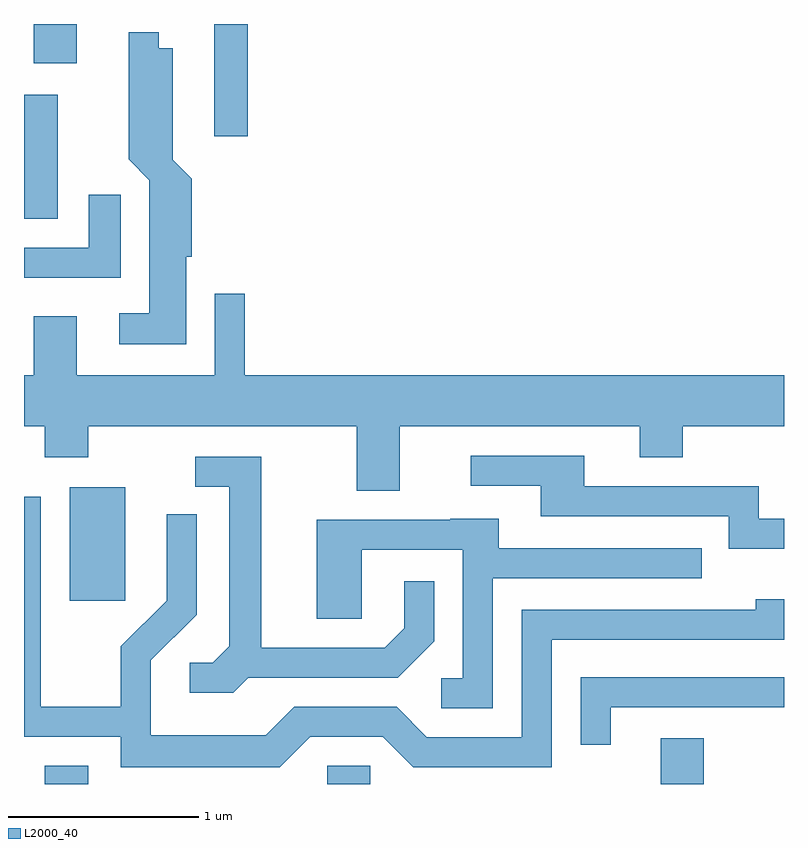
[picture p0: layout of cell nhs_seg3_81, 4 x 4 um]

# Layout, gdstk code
import gdstk
lib = gdstk.Library(unit=1e-6, precision=1e-09)
def R(c, l, rs):  # rectangles x0, y0, x1, y1
    for r in rs: c.add(gdstk.rectangle(r[:2], r[2:], *l))
def P(c, l, *ps):  # polygons
    for p in ps: c.add(gdstk.Polygon(p, *l))
L2000_40 = (2000, 40)

nhs_seg3_81 = lib.new_cell('nhs_seg3_81')
R(nhs_seg3_81, L2000_40, [(187.721,1141.892,187.949,1141.989), (189.206,1141.892,189.434,1141.989), (190.961,1141.892,191.189,1142.134), (187.851,1142.856,188.144,1143.454), (187.611,1144.866,187.789,1145.519), (188.611,1145.301,188.789,1145.892), (187.661,1145.686,187.889,1145.892)])
P(nhs_seg3_81, L2000_40, [(188.464,1144.666),(188.494,1144.666),(188.494,1145.077),(188.394,1145.177),(188.394,1145.764),(188.319,1145.764),(188.319,1145.848),(188.161,1145.848),(188.161,1145.179),(188.271,1145.069),(188.271,1144.369),(188.113,1144.369),(188.113,1144.206),(188.464,1144.206)],
  [(188.119,1144.993),(187.951,1144.993),(187.951,1144.714),(187.611,1144.714),(187.611,1144.556),(188.119,1144.556)],
  [(189.589,1143.776),(190.851,1143.776),(190.851,1143.611),(191.079,1143.611),(191.079,1143.776),(191.611,1143.776),(191.611,1144.044),(188.774,1144.044),(188.774,1144.473),(188.616,1144.473),(188.616,1144.044),(187.889,1144.044),(187.889,1144.354),(187.661,1144.354),(187.661,1144.044),(187.611,1144.044),(187.611,1143.776),(187.721,1143.776),(187.721,1143.611),(187.949,1143.611),(187.949,1143.776),(189.361,1143.776),(189.361,1143.436),(189.589,1143.436)],
  [(191.611,1143.289),(191.479,1143.289),(191.479,1143.459),(190.559,1143.459),(190.559,1143.619),(189.963,1143.619),(189.963,1143.461),(190.331,1143.461),(190.331,1143.301),(191.321,1143.301),(191.321,1143.131),(191.611,1143.131)],
  [(188.792,1142.451),(189.577,1142.451),(189.769,1142.644),(189.769,1142.958),(189.611,1142.958),(189.611,1142.712),(189.509,1142.609),(188.859,1142.609),(188.859,1143.614),(188.513,1143.614),(188.513,1143.456),(188.691,1143.456),(188.691,1142.617),(188.604,1142.529),(188.483,1142.529),(188.483,1142.371),(188.712,1142.371)],
  [(189.117,1142.141),(189.499,1142.141),(189.659,1141.981),(190.389,1141.981),(190.389,1142.651),(191.611,1142.651),(191.611,1142.864),(191.461,1142.864),(191.461,1142.809),(190.231,1142.809),(190.231,1142.139),(189.732,1142.139),(189.572,1142.299),(189.034,1142.299),(188.884,1142.149),(188.279,1142.149),(188.279,1142.544),(188.519,1142.784),(188.519,1143.313),(188.361,1143.313),(188.361,1142.857),(188.121,1142.617),(188.121,1142.299),(187.699,1142.299),(187.699,1143.404),(187.611,1143.404),(187.611,1142.141),(188.121,1142.141),(188.121,1141.981),(188.957,1141.981)],
  [(190.079,1142.976),(191.178,1142.976),(191.178,1143.134),(190.109,1143.134),(190.109,1143.289),(189.855,1143.289),(189.855,1143.284),(189.151,1143.284),(189.151,1142.761),(189.389,1142.761),(189.389,1143.126),(189.921,1143.126),(189.921,1142.449),(189.808,1142.449),(189.808,1142.291),(190.079,1142.291)],
  [(190.699,1142.296),(191.611,1142.296),(191.611,1142.454),(190.541,1142.454),(190.541,1142.098),(190.699,1142.098)])

lib.write_gds('nhs_seg3_81.gds')
